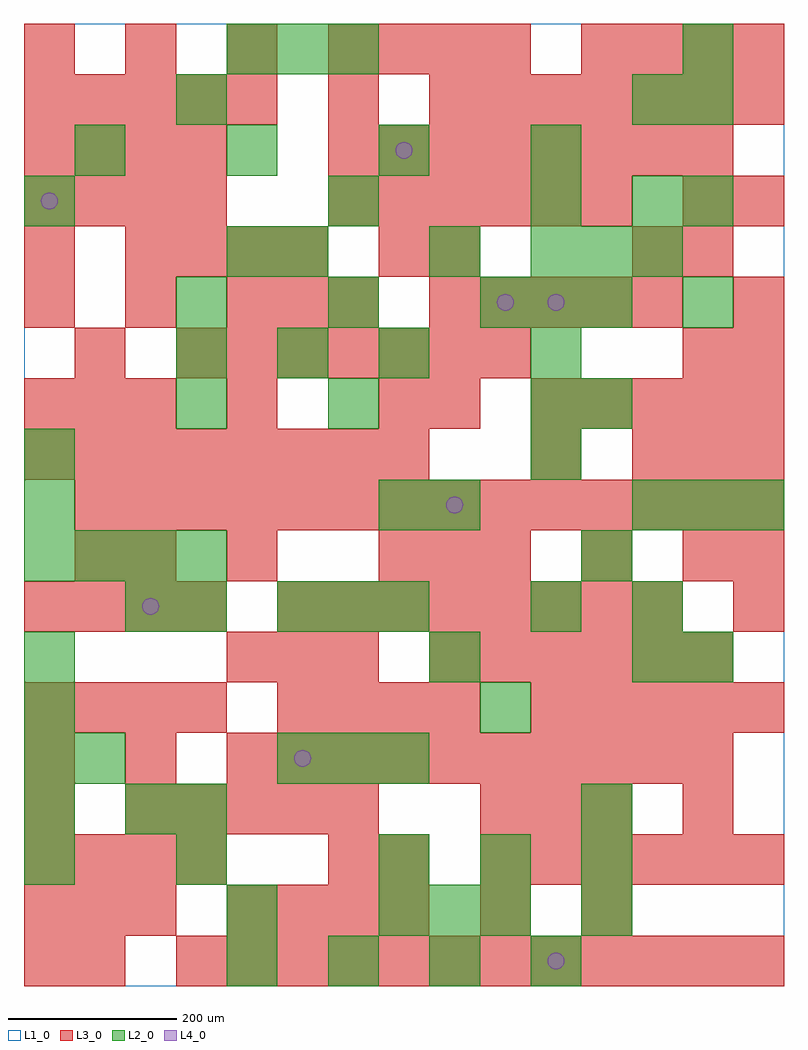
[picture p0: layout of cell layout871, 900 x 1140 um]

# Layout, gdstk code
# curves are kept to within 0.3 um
import gdstk
lib = gdstk.Library(unit=1e-6, precision=1e-09)
def R(c, l, rs):  # rectangles x0, y0, x1, y1
    for r in rs: c.add(gdstk.rectangle(r[:2], r[2:], *l))
def A(c, l, x, y, w, h, nx, ny, dx, dy):  # array of equal rectangles
    R(c, l, [(x+i*dx, y+j*dy, x+i*dx+w, y+j*dy+h) for i in range(nx) for j in range(ny)])
def P(c, l, *ps):  # polygons
    for p in ps: c.add(gdstk.Polygon(p, *l))
L1_0 = (1, 0)
L2_0 = (2, 0)
L3_0 = (3, 0)
L4_0 = (4, 0)

layout871 = lib.new_cell('layout871')
R(layout871, L1_0, [(0,0,900,1140)])
A(layout871, L2_0, 240, 0, 60, 60, 4, 1, 120, 0)
A(layout871, L2_0, 420, 60, 60, 60, 3, 1, 60, 0)
A(layout871, L2_0, 0, 120, 60, 60, 1, 5, 0, 60)
A(layout871, L2_0, 420, 120, 60, 60, 3, 1, 120, 0)
A(layout871, L2_0, 180, 180, 60, 60, 1, 3, 0, 240)
A(layout871, L2_0, 300, 240, 60, 60, 3, 2, 60, 180)
A(layout871, L2_0, 0, 480, 60, 60, 4, 1, 60, 0)
A(layout871, L2_0, 720, 540, 60, 60, 3, 1, 60, 0)
A(layout871, L2_0, 600, 600, 60, 60, 1, 4, 0, 60)
A(layout871, L2_0, 180, 720, 60, 60, 3, 1, 120, 0)
A(layout871, L2_0, 180, 780, 60, 60, 3, 1, 180, 0)
A(layout871, L2_0, 780, 780, 60, 60, 1, 3, 0, 120)
A(layout871, L2_0, 600, 840, 60, 60, 3, 1, 60, 0)
A(layout871, L2_0, 60, 960, 60, 60, 4, 1, 180, 0)
A(layout871, L2_0, 240, 1080, 60, 60, 3, 1, 60, 0)
R(layout871, L2_0, [(240,60,300,120), (660,60,720,120), (180,120,240,180), (120,180,180,240), (660,180,720,240), (60,240,120,300), (540,300,600,360), (480,360,540,420), (720,360,780,420), (780,360,840,420), (120,420,180,480), (600,420,660,480), (720,420,780,480), (660,480,720,540), (0,540,60,600), (420,540,480,600), (480,540,540,600), (0,600,60,660), (360,660,420,720), (660,660,720,720), (660,780,720,840), (240,840,300,900), (300,840,360,900), (480,840,540,900), (0,900,60,960), (360,900,420,960), (600,900,660,960), (720,900,780,960), (180,1020,240,1080), (720,1020,780,1080), (780,1080,840,1140)])
A(layout871, L3_0, 180, 0, 60, 60, 12, 1, 60, 0)
A(layout871, L3_0, 0, 60, 60, 60, 3, 2, 60, 600)
A(layout871, L3_0, 240, 60, 60, 60, 4, 1, 60, 0)
A(layout871, L3_0, 0, 120, 60, 60, 4, 2, 60, 180)
A(layout871, L3_0, 540, 120, 60, 60, 6, 1, 60, 0)
A(layout871, L3_0, 120, 180, 60, 60, 5, 1, 60, 0)
A(layout871, L3_0, 540, 180, 60, 60, 3, 1, 60, 0)
A(layout871, L3_0, 0, 240, 60, 60, 3, 2, 120, 540)
A(layout871, L3_0, 300, 240, 60, 60, 9, 1, 60, 0)
A(layout871, L3_0, 300, 300, 60, 60, 4, 1, 60, 0)
A(layout871, L3_0, 600, 300, 60, 60, 5, 2, 60, 360)
A(layout871, L3_0, 240, 360, 60, 60, 3, 1, 60, 0)
A(layout871, L3_0, 480, 360, 60, 60, 6, 1, 60, 0)
A(layout871, L3_0, 0, 420, 60, 60, 4, 2, 60, 480)
A(layout871, L3_0, 300, 420, 60, 60, 8, 1, 60, 0)
A(layout871, L3_0, 420, 480, 60, 60, 3, 2, 60, 600)
A(layout871, L3_0, 60, 540, 60, 60, 14, 1, 60, 0)
A(layout871, L3_0, 0, 600, 60, 60, 8, 1, 60, 0)
A(layout871, L3_0, 720, 600, 60, 60, 3, 1, 60, 0)
A(layout871, L3_0, 180, 720, 60, 60, 7, 1, 60, 0)
A(layout871, L3_0, 480, 780, 60, 60, 5, 1, 60, 0)
A(layout871, L3_0, 120, 840, 60, 60, 4, 1, 60, 0)
A(layout871, L3_0, 360, 900, 60, 60, 6, 1, 60, 0)
A(layout871, L3_0, 0, 960, 60, 60, 4, 1, 60, 0)
A(layout871, L3_0, 360, 960, 60, 60, 8, 1, 60, 0)
A(layout871, L3_0, 0, 1020, 60, 60, 5, 1, 60, 0)
A(layout871, L3_0, 480, 1020, 60, 60, 7, 1, 60, 0)
A(layout871, L3_0, 0, 1080, 60, 60, 4, 1, 120, 0)
A(layout871, L3_0, 660, 1080, 60, 60, 4, 1, 60, 0)
R(layout871, L3_0, [(0,0,60,60), (60,0,120,60), (540,60,600,120), (660,60,720,120), (360,120,420,180), (420,120,480,180), (0,180,60,240), (780,180,840,240), (840,420,900,480), (60,480,120,540), (120,480,180,540), (240,480,300,540), (660,480,720,540), (780,480,840,540), (840,480,900,540), (600,600,660,660), (240,660,300,720), (420,660,480,720), (480,660,540,720), (60,720,120,780), (780,720,840,780), (840,720,900,780), (300,780,360,840), (360,780,420,840), (840,780,900,840), (0,840,60,900), (420,840,480,900), (480,840,540,900), (720,840,780,900), (780,840,840,900), (780,900,840,960), (840,900,900,960), (360,1020,420,1080)])
P(layout871, L4_0, [(40,930),(39.239,933.827),(37.071,937.071),(33.827,939.239),(30,940),(26.173,939.239),(22.929,937.071),(20.761,933.827),(20,930),(20.761,926.173),(22.929,922.929),(26.173,920.761),(30,920),(33.827,920.761),(37.071,922.929),(39.239,926.173)],
  [(160,450),(159.239,453.827),(157.071,457.071),(153.827,459.239),(150,460),(146.173,459.239),(142.929,457.071),(140.761,453.827),(140,450),(140.761,446.173),(142.929,442.929),(146.173,440.761),(150,440),(153.827,440.761),(157.071,442.929),(159.239,446.173)],
  [(340,270),(339.239,273.827),(337.071,277.071),(333.827,279.239),(330,280),(326.173,279.239),(322.929,277.071),(320.761,273.827),(320,270),(320.761,266.173),(322.929,262.929),(326.173,260.761),(330,260),(333.827,260.761),(337.071,262.929),(339.239,266.173)],
  [(460,990),(459.239,993.827),(457.071,997.071),(453.827,999.239),(450,1000),(446.173,999.239),(442.929,997.071),(440.761,993.827),(440,990),(440.761,986.173),(442.929,982.929),(446.173,980.761),(450,980),(453.827,980.761),(457.071,982.929),(459.239,986.173)],
  [(520,570),(519.239,573.827),(517.071,577.071),(513.827,579.239),(510,580),(506.173,579.239),(502.929,577.071),(500.761,573.827),(500,570),(500.761,566.173),(502.929,562.929),(506.173,560.761),(510,560),(513.827,560.761),(517.071,562.929),(519.239,566.173)],
  [(580,810),(579.239,813.827),(577.071,817.071),(573.827,819.239),(570,820),(566.173,819.239),(562.929,817.071),(560.761,813.827),(560,810),(560.761,806.173),(562.929,802.929),(566.173,800.761),(570,800),(573.827,800.761),(577.071,802.929),(579.239,806.173)],
  [(640,30),(639.239,33.827),(637.071,37.071),(633.827,39.239),(630,40),(626.173,39.239),(622.929,37.071),(620.761,33.827),(620,30),(620.761,26.173),(622.929,22.929),(626.173,20.761),(630,20),(633.827,20.761),(637.071,22.929),(639.239,26.173)],
  [(640,810),(639.239,813.827),(637.071,817.071),(633.827,819.239),(630,820),(626.173,819.239),(622.929,817.071),(620.761,813.827),(620,810),(620.761,806.173),(622.929,802.929),(626.173,800.761),(630,800),(633.827,800.761),(637.071,802.929),(639.239,806.173)])

lib.write_gds('layout871.gds')
